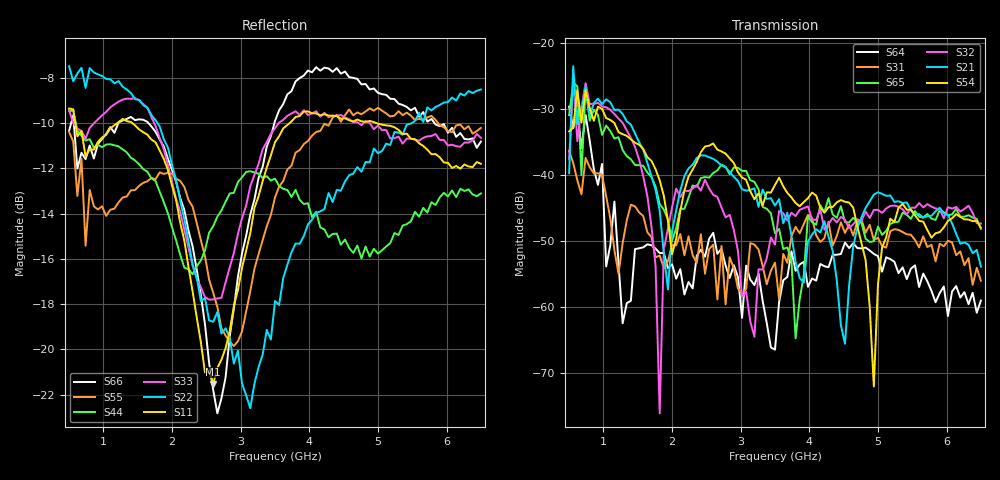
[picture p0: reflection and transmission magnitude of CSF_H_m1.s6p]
!Keysight Technologies,M9804A,MY58100912,A.14.10.03
!Date: Thursday, April 27, 2023 10:28:33
!Correction: S11(C  6-Port  )
!S12(C  6-Port  )
!S13(C  6-Port  )
!S14(C  6-Port  )
!S15(C  6-Port  )
!S16(C  6-Port  )
!S21(C  6-Port  )
!S22(C  6-Port  )
!S23(C  6-Port  )
!S24(C  6-Port  )
!S25(C  6-Port  )
!S26(C  6-Port  )
!S31(C  6-Port  )
!S32(C  6-Port  )
!S33(C  6-Port  )
!S34(C  6-Port  )
!S35(C  6-Port  )
!S36(C  6-Port  )
!S41(C  6-Port  )
!S42(C  6-Port  )
!S43(C  6-Port  )
!S44(C  6-Port  )
!S45(C  6-Port  )
!S46(C  6-Port  )
!S51(C  6-Port  )
!S52(C  6-Port  )
!S53(C  6-Port  )
!S54(C  6-Port  )
!S55(C  6-Port  )
!S56(C  6-Port  )
!S61(C  6-Port  )
!S62(C  6-Port  )
!S63(C  6-Port  )
!S64(C  6-Port  )
!S65(C  6-Port  )
!S66(C  6-Port  )
!S6P File: Measurement: :
# Hz S  RI  R 50
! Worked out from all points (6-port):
!   101 points, 500 MHz to 6.5 GHz, reference 50 ohm
!   strongest paths, dB at 500 MHz, 2 GHz, 3.5 GHz, 5 GHz, 6.5 GHz:
!     S54: -33.3, -52.0, -41.5, -56.5, -47.9
!     S21: -39.7, -48.5, -44.6, -42.6, -53.8
!     S32: -37.6, -44.8, -50.5, -45.2, -47.3
!     S65: -30.9, -49.9, -48.8, -47.8, -48.1
!     S31: -36.3, -50.6, -53.2, -49.4, -56.0
!     S64: -29.6, -53.5, -66.4, -52.2, -59.0
!   lowest |S11| = -21.5 dB at 2.6 GHz (marker M1), VSWR 1.18, Z = 42.5 + j2.15 ohm
!   |S11| at or under -10 dB: 590.4 MHz to 1.202 GHz (611.8 MHz wide, 68.3 % of centre); 1.418 GHz to 3.713 GHz (2.295 GHz wide, 89.4 % of centre); 4.974 GHz to end of sweep
